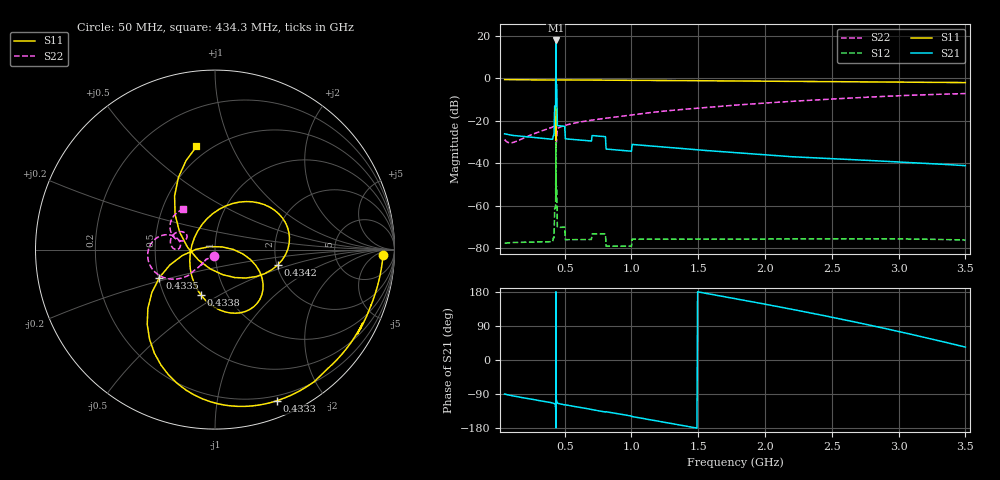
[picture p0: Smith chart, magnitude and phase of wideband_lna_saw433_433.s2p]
! Wideband LNA + 433 MHz SAW (rev 3): path 433 (tools/sparam_calc.py)
# HZ S RI R 50
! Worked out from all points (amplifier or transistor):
!   1292 points, 50 MHz to 3.5 GHz, reference 50 ohm
!   highest |S21| = 17.9 dB at 433.6 MHz (marker M1)
!   |S21| within 3 dB of that: 433.504 MHz to 434.3223 MHz (818.3 kHz wide, 0.189 % of centre)
!   unconditionally stable (mu >= 1): start of sweep to end of sweep
!   at 432.4 MHz: K = 24.99, MAG = 7.0 dB, |S12| = -49.1 dB
!   at 436.7 MHz: K = 38.82, MAG = 5.1 dB, |S12| = -51.1 dB
!   at 3.5 GHz: K = 105429.45, MAG = -35.7 dB, |S12| = -76.1 dB
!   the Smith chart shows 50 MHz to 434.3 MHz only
!   S11 on the Smith chart (normalised r, x): 50 MHz: 24, -12; 433.3 MHz: 0.15, -1.48; 433.6 MHz: 0.51, -0.18; 433.8 MHz: 0.76, -0.41; 434.2 MHz: 2.02, -0.40; 434.3 MHz: 0.43, +0.74
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5e7  0.9365 -0.031  0.000235 -0.0496  6.24e-07 -0.000132  -0.00324 -0.0364
3.9e8  0.883 -0.2739  -0.014 -0.0347  -5.37e-05 -0.000133  -0.0436 -0.0519
4.31e8  0.8319 -0.3991  -0.1169 -0.1991  -0.000464 -0.000791  -0.0635 -0.0718
4.333e8  0.3446 -0.8421  -1.171 -0.4418  -0.00466 -0.00176  -0.1903 -0.1596
4.3344e8  -0.0698 -0.8315  -3.301 0.2779  -0.0131 0.00111  -0.2954 -0.1513
4.3355e8  -0.31 -0.1562  -3.689 6.238  -0.0147 0.0248  -0.3577 0.0313
4.3359e8  -0.031 0.0164  -0.6192 7.798  -0.00247 0.0311  -0.2835 0.0821
4.3369e8  0.2607 -0.2523  4.715 5.438  0.0188 0.0217  -0.1923 0.0246
4.3383e8  -0.0788 -0.2522  7.48 0.4995  0.0298 0.00199  -0.2423 0.019
4.3399e8  0.1352 0.2646  4.338 -6.018  0.0173 -0.024  -0.191 0.1005
4.3416e8  0.3494 -0.0859  -2.279 -6.849  -0.00908 -0.0273  -0.1802 0.0483
4.3424e8  -0.0934 -0.057  -6.526 -4.223  -0.026 -0.0168  -0.2487 0.1066
4.3431e8  -0.1031 0.5749  -5.904 1.336  -0.0235 0.00533  -0.1763 0.2243
4.3437e8  0.3229 0.7421  -2.841 2.46  -0.0113 0.0098  -0.0768 0.2097
4.3446e8  0.6715 0.5939  -0.8561 1.658  -0.00341 0.00661  -0.0242 0.1459
4.3477e8  0.8658 0.3168  0.0105 -0.4399  4.17e-05 -0.00175  -0.00748 0.075
6.25e8  0.8182 -0.4132  -0.0206 -0.0286  -9.43e-05 -0.000131  -0.0823 -0.0479
1.2e9  0.546 -0.7099  -0.0235 -0.00794  -0.000156 -5.24e-05  -0.1586 0.0438
1.775e9  0.1693 -0.8539  -0.017 0.00553  -0.000157 5.1e-05  -0.1276 0.197
2.35e9  -0.2352 -0.8117  -0.00753 0.0114  -9.23e-05 0.000139  0.0258 0.3067
2.925e9  -0.5764 -0.5836  0.00171 0.011  2.58e-05 0.000165  0.2483 0.2903
3.5e9  -0.7671 -0.2196  0.00732 0.00496  0.00013 8.82e-05  0.4252 0.1147
